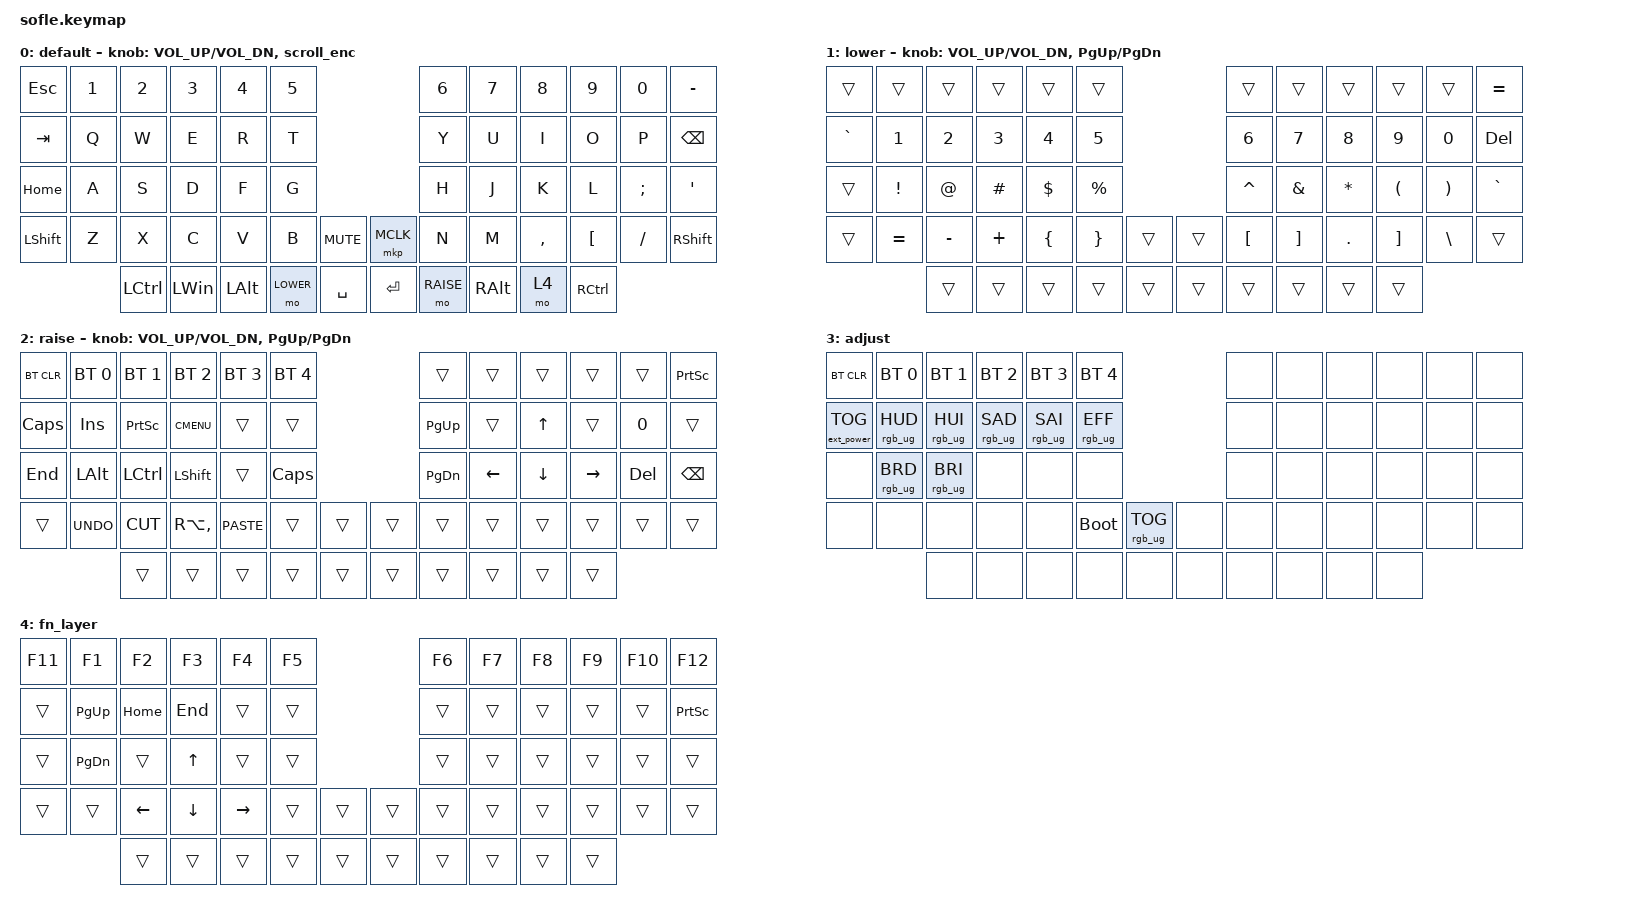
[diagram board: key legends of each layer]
/*
 * Copyright (c) 2020 The ZMK Contributors
 *
 * SPDX-License-Identifier: MIT
 */

#include <behaviors.dtsi>
#include <dt-bindings/zmk/bt.h>
#include <dt-bindings/zmk/ext_power.h>
#include <dt-bindings/zmk/keys.h>
#include <dt-bindings/zmk/pointing.h>
#include <dt-bindings/zmk/rgb.h>

#define BASE 0
#define LOWER 1
#define RAISE 2
#define ADJUST 3

/ {
    // Activate ADJUST layer by pressing raise and lower

    conditional_layers {
        compatible = "zmk,conditional-layers";

        adjust_layer {
            if-layers = <LOWER RAISE>;
            then-layer = <ADJUST>;
        };
    };

    behaviors {
        scroll_enc: scroll_enc {
            compatible = "zmk,behavior-sensor-rotate";
            label = "SCROLL_ENC";
            #sensor-binding-cells = <0>;
            bindings = <&msc SCRL_UP>, <&msc SCRL_DOWN>;

            tap-ms = <450>;
        };
    };

    keymap {
        compatible = "zmk,keymap";

        default_layer {
            display-name = "default";

            // ------------------------------------------------------------------------------------------------------------
            // |   `   |  1  |  2  |  3   |  4   |  5   |                   |  6   |  7    |  8    |  9   |   0   |       |
            // |  ESC  |  Q  |  W  |  E   |  R   |  T   |                   |  Y   |  U    |  I    |  O   |   P   | BKSPC |
            // |  TAB  |  A  |  S  |  D   |  F   |  G   |                   |  H   |  J    |  K    |  L   |   ;   |   '   |
            // | SHIFT |  Z  |  X  |  C   |  V   |  B   |  MUTE  |  |       |  N   |  M    |  ,    |  .   |   /   | SHIFT |
            //               | GUI | ALT  | CTRL | LOWER|  ENTER |  | SPACE | RAISE| CTRL  | ALT   | GUI  |

            bindings = <
&kp ESCAPE  &kp N1  &kp N2            &kp N3    &kp N4    &kp N5                              &kp N6     &kp N7    &kp N8     &kp N9            &kp N0    &kp MINUS
&kp TAB     &kp Q   &kp W             &kp E     &kp R     &kp T                               &kp Y      &kp U     &kp I      &kp O             &kp P     &kp BSPC
&kp HOME    &kp A   &kp S             &kp D     &kp F     &kp G                               &kp H      &kp J     &kp K      &kp L             &kp SEMI  &kp SQT
&kp LSHFT   &kp Z   &kp X             &kp C     &kp V     &kp B      &kp C_MUTE    &mkp MCLK  &kp N      &kp M     &kp COMMA  &kp LEFT_BRACKET  &kp FSLH  &kp RSHFT
                    &kp LEFT_CONTROL  &kp LWIN  &kp LALT  &mo LOWER  &kp SPACE     &kp ENTER  &mo RAISE  &kp RALT  &mo 4      &kp RCTRL
            >;

            sensor-bindings = <&inc_dec_kp C_VOL_UP C_VOL_DN>, <&scroll_enc>;
        };

        lower_layer {
            display-name = "lower";

            // TODO: Some binds are waiting for shifted keycode support.
            // ------------------------------------------------------------------------------------------------------------
            // |       |  F1 |  F2 |  F3  |  F4  |  F5  |                   |  F6  |  F7   |  F8   |  F9  |  F10  |  F11  |
            // |   `   |  1  |  2  |  3   |  4   |  5   |                   |  6   |  7    |  8    |  9   |   0   |  F12  |
            // |       |  !  |  @  |  #   |  $   |  %   |                   |  ^   |  &    |  *    |  (   |   )   |   |   |
            // |       |  =  |  -  |  +   |  {   |  }   |        |  |       |  [   |  ]    |  ;    |  :   |   \   |       |
            //               |     |      |      |      |        |  |       |      |       |       |      |

            bindings = <
&trans     &trans     &trans     &trans    &trans    &trans                       &trans     &trans    &trans      &trans             &trans    &kp EQUAL
&kp GRAVE  &kp N1     &kp N2     &kp N3    &kp N4    &kp N5                       &kp N6     &kp N7    &kp N8      &kp N9             &kp N0    &kp DELETE
&trans     &kp EXCL   &kp AT     &kp HASH  &kp DLLR  &kp PRCNT                    &kp CARET  &kp AMPS  &kp ASTRK   &kp LPAR           &kp RPAR  &kp GRAVE
&trans     &kp EQUAL  &kp MINUS  &kp PLUS  &kp LBRC  &kp RBRC   &trans    &trans  &kp LBKT   &kp RBKT  &kp PERIOD  &kp RIGHT_BRACKET  &kp BSLH  &trans
                      &trans     &trans    &trans    &trans     &trans    &trans  &trans     &trans    &trans      &trans
            >;

            sensor-bindings = <&inc_dec_kp C_VOL_UP C_VOL_DN &inc_dec_kp PG_UP PG_DN>;
        };

        raise_layer {
            display-name = "raise";

            // ------------------------------------------------------------------------------------------------------------
            // | BTCLR | BT1  | BT2  |  BT3  |  BT4  |  BT5 |                |      |      |       |      |       |       |
            // |       | INS  | PSCR | GUI   |       |      |                | PGUP |      |   ^   |      |       |       |
            // |       | ALT  | CTRL | SHIFT |       | CAPS |                | PGDN |   <- |   v   |  ->  |  DEL  | BKSPC |
            // |       | UNDO | CUT  | COPY  | PASTE |      |      |  |      |      |      |       |      |       |       |
            //                |      |       |       |      |      |  |      |      |      |       |      |

            bindings = <
&bt BT_CLR  &bt BT_SEL 0  &bt BT_SEL 1  &bt BT_SEL 2   &bt BT_SEL 3  &bt BT_SEL 4                    &trans     &trans    &trans    &trans     &trans   &kp PRINTSCREEN
&kp CAPS    &kp INS       &kp PSCRN     &kp K_CMENU    &trans        &trans                          &kp PG_UP  &trans    &kp UP    &trans     &kp N0   &trans
&kp END     &kp LALT      &kp LCTRL     &kp LSHFT      &trans        &kp CLCK                        &kp PG_DN  &kp LEFT  &kp DOWN  &kp RIGHT  &kp DEL  &kp BSPC
&trans      &kp K_UNDO    &kp K_CUT     &kp RA(COMMA)  &kp K_PASTE   &trans        &trans    &trans  &trans     &trans    &trans    &trans     &trans   &trans
                          &trans        &trans         &trans        &trans        &trans    &trans  &trans     &trans    &trans    &trans
            >;

            sensor-bindings = <&inc_dec_kp C_VOL_UP C_VOL_DN &inc_dec_kp PG_UP PG_DN>;
        };

        adjust_layer {
            // ----------------------------------------------------------------------------------------------------------------------------
            // | BTCLR  |  BT1    |  BT2    |   BT3   |   BT4   |   BT5   |                  |      |      |       |      |       |       |
            // | EXTPWR | RGB_HUD | RGB_HUI | RGB_SAD | RGB_SAI | RGB_EFF |                  |      |      |       |      |       |       |
            // |        | RGB_BRD | RGB_BRI |         |         |         |                  |      |      |       |      |       |       |
            // |        |         |         |         |         |         | RGB_TOG | |      |      |      |       |      |       |       |
            //                    |         |         |         |         |         | |      |      |      |       |      |

            display-name = "adjust";
            bindings = <
&bt BT_CLR         &bt BT_SEL 0     &bt BT_SEL 1     &bt BT_SEL 2     &bt BT_SEL 3     &bt BT_SEL 4                               &none  &none  &none  &none  &none  &none
&ext_power EP_TOG  &rgb_ug RGB_HUD  &rgb_ug RGB_HUI  &rgb_ug RGB_SAD  &rgb_ug RGB_SAI  &rgb_ug RGB_EFF                            &none  &none  &none  &none  &none  &none
&none              &rgb_ug RGB_BRD  &rgb_ug RGB_BRI  &none            &none            &none                                      &none  &none  &none  &none  &none  &none
&none              &none            &none            &none            &none            &bootloader      &rgb_ug RGB_TOG    &none  &none  &none  &none  &none  &none  &none
                                    &none            &none            &none            &none            &none              &none  &none  &none  &none  &none
            >;
        };

        fn_layer {
            bindings = <
&kp F11  &kp F1       &kp F2    &kp F3    &kp F4     &kp F5                    &kp F6  &kp F7  &kp F8  &kp F9  &kp F10  &kp F12
&trans   &kp PAGE_UP  &kp HOME  &kp END   &trans     &trans                    &trans  &trans  &trans  &trans  &trans   &kp PRINTSCREEN
&trans   &kp PG_DN    &trans    &kp UP    &trans     &trans                    &trans  &trans  &trans  &trans  &trans   &trans
&trans   &trans       &kp LEFT  &kp DOWN  &kp RIGHT  &trans  &trans    &trans  &trans  &trans  &trans  &trans  &trans   &trans
                      &trans    &trans    &trans     &trans  &trans    &trans  &trans  &trans  &trans  &trans
            >;
        };
    };
};
